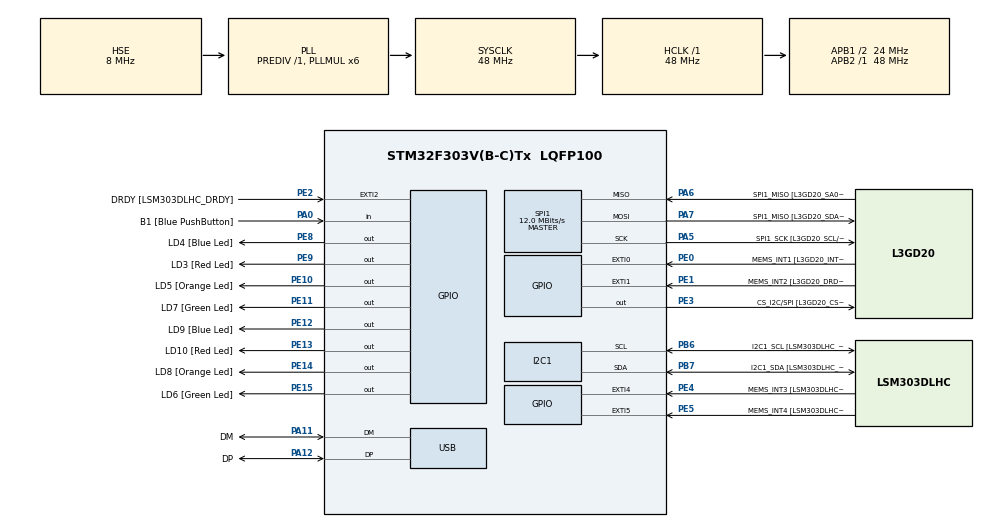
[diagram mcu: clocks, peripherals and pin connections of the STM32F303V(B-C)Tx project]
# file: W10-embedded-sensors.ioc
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I2C1.Timing=0x2000090E
I2C1.Timing-I2C=0x2000090E
Mcu.Family=STM32F3
Mcu.Name=STM32F303V(B-C)Tx
Mcu.Package=LQFP100
NVIC.PriorityGroup=NVIC_PRIORITYGROUP_0
PA0.GPIO_Label=B1 [Blue PushButton]
PA0.Signal=GPIO_Input
PA11.GPIO_Label=DM
PA11.Mode=Device
PA11.Signal=USB_DM
PA12.GPIO_Label=DP
PA12.Mode=Device
PA12.Signal=USB_DP
PA13.GPIO_Label=SWDIO
PA13.Mode=Serial_Wire
PA13.Signal=SYS_JTMS-SWDIO
PA14.GPIO_Label=SWCLK
PA14.Mode=Serial_Wire
PA14.Signal=SYS_JTCK-SWCLK
PA5.GPIO_Label=SPI1_SCK [L3GD20_SCL/SPC]
PA5.Mode=Full_Duplex_Master
PA5.Signal=SPI1_SCK
PA6.GPIO_Label=SPI1_MISO [L3GD20_SA0/SDO]
PA6.Mode=Full_Duplex_Master
PA6.Signal=SPI1_MISO
PA7.GPIO_Label=SPI1_MISO [L3GD20_SDA/SDI/SDO]
PA7.Mode=Full_Duplex_Master
PA7.Signal=SPI1_MOSI
PB3.GPIO_Label=SWO
PB3.Signal=SYS_JTDO-TRACESWO
PB6.GPIO_Label=I2C1_SCL [LSM303DLHC_SCL]
PB6.GPIO_Pu=GPIO_PULLUP
PB6.Mode=I2C
PB6.Signal=I2C1_SCL
PB7.GPIO_Label=I2C1_SDA [LSM303DLHC_SDA]
PB7.GPIO_Pu=GPIO_PULLUP
PB7.Mode=I2C
PB7.Signal=I2C1_SDA
PC14-OSC32_IN.GPIO_Label=OSC32_IN
PC14-OSC32_IN.Signal=RCC_OSC32_IN
PC15-OSC32_OUT.GPIO_Label=OSC32_OUT
PC15-OSC32_OUT.Signal=RCC_OSC32_OUT
PE0.GPIO_Label=MEMS_INT1 [L3GD20_INT1]
PE0.GPIO_ModeDefaultEXTI=GPIO_MODE_EVT_RISING
PE0.Signal=GPXTI0
PE1.GPIO_Label=MEMS_INT2 [L3GD20_DRDY/INT2]
PE1.GPIO_ModeDefaultEXTI=GPIO_MODE_EVT_RISING
PE1.Signal=GPXTI1
PE10.GPIO_Label=LD5 [Orange Led]
PE10.Signal=GPIO_Output
PE11.GPIO_Label=LD7 [Green Led]
PE11.Signal=GPIO_Output
PE12.GPIO_Label=LD9 [Blue Led]
PE12.Signal=GPIO_Output
PE13.GPIO_Label=LD10 [Red Led]
PE13.Signal=GPIO_Output
PE14.GPIO_Label=LD8 [Orange Led]
PE14.Signal=GPIO_Output
PE15.GPIO_Label=LD6 [Green Led]
PE15.Signal=GPIO_Output
PE2.GPIO_Label=DRDY [LSM303DLHC_DRDY]
PE2.GPIO_ModeDefaultEXTI=GPIO_MODE_EVT_RISING
PE2.Signal=GPXTI2
PE3.GPIO_Label=CS_I2C/SPI [L3GD20_CS_I2C/SPI]
PE3.Signal=GPIO_Output
PE4.GPIO_Label=MEMS_INT3 [LSM303DLHC_INT1]
PE4.GPIO_ModeDefaultEXTI=GPIO_MODE_EVT_RISING
PE4.Signal=GPXTI4
PE5.GPIO_Label=MEMS_INT4 [LSM303DLHC_INT2]
PE5.GPIO_ModeDefaultEXTI=GPIO_MODE_EVT_RISING
PE5.Signal=GPXTI5
PE8.GPIO_Label=LD4 [Blue Led]
PE8.Signal=GPIO_Output
PE9.GPIO_Label=LD3 [Red Led]
PE9.Signal=GPIO_Output
PF0-OSC_IN.GPIO_Label=OSC_IN
PF0-OSC_IN.Mode=HSE-External-Clock-Source
PF0-OSC_IN.Signal=RCC_OSC_IN
PF1-OSC_OUT.GPIO_Label=OSC_OUT
PF1-OSC_OUT.Signal=RCC_OSC_OUT
ProjectManager.HeapSize=0x200
ProjectManager.StackSize=0x400
ProjectManager.TargetToolchain=STM32CubeIDE
RCC.AHBFreq_Value=48000000
RCC.APB1CLKDivider=RCC_HCLK_DIV2
RCC.APB1Freq_Value=24000000
RCC.APB1TimFreq_Value=48000000
RCC.APB2Freq_Value=48000000
RCC.APB2TimFreq_Value=48000000
RCC.CortexFreq_Value=48000000
RCC.HCLKFreq_Value=48000000
RCC.HSE_VALUE=8000000
RCC.HSI_VALUE=8000000
RCC.LSE_VALUE=32768
RCC.PLLMUL=RCC_PLL_MUL6
RCC.SYSCLKFreq_VALUE=48000000
RCC.SYSCLKSourceVirtual=RCC_SYSCLKSOURCE_PLLCLK
RCC.USBFreq_Value=48000000
SPI1.BaudRatePrescaler=SPI_BAUDRATEPRESCALER_4
SPI1.BaudRatePrescaler-Full_Duplex_Master=SPI_BAUDRATEPRESCALER_2
SPI1.CalculateBaudRate=12.0 MBits/s
SPI1.CalculateBaudRate-Full_Duplex_Master=24.0 MBits/s
SPI1.Direction=SPI_DIRECTION_2LINES
SPI1.Mode=SPI_MODE_MASTER
SPI1.Mode-Full_Duplex_Master=SPI_MODE_MASTER
SPI1.VirtualType=VM_MASTER
board=STM32F3DISCOVERY

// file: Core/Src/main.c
/* USER CODE BEGIN Header */
/**
  ******************************************************************************
  * @file           : main.c
  * @brief          : Main program body
  ******************************************************************************
  * @attention
  *
  * Copyright (c) 2023 STMicroelectronics.
  * All rights reserved.
  *
  * This software is licensed under terms that can be found in the LICENSE file
  * in the root directory of this software component.
  * If no LICENSE file comes with this software, it is provided AS-IS.
  *
  ******************************************************************************
  */
/* USER CODE END Header */
#include "main.h"

/* USER CODE BEGIN Includes */
#include "BSP/stm32f3_discovery.h"
#include "BSP/stm32f3_discovery_gyroscope.h"
#include "BSP/stm32f3_discovery_accelerometer.h"

#include "serial.h"
/* USER CODE END Includes */

I2C_HandleTypeDef hi2c1;

SPI_HandleTypeDef hspi1;

PCD_HandleTypeDef hpcd_USB_FS;

void SystemClock_Config(void);
static void MX_GPIO_Init(void);
static void MX_I2C1_Init(void);
static void MX_SPI1_Init(void);
static void MX_USB_PCD_Init(void);

int main(void)
{

  /* MCU Configuration--------------------------------------------------------*/

  /* Reset of all peripherals, Initializes the Flash interface and the Systick. */
  HAL_Init();

  /* Configure the system clock */
  SystemClock_Config();

  /* Initialize all configured peripherals */
  MX_GPIO_Init();
  MX_I2C1_Init();
  MX_SPI1_Init();
  MX_USB_PCD_Init();
  /* USER CODE BEGIN 2 */
  BSP_GYRO_Init();
  BSP_ACCELERO_Init();

  SerialInitialise(BAUD_115200, &USART1_PORT, 0x00);
  uint8_t string_to_send[64] = "This is a string !\r\n";

  float gyro_values[3];
  int16_t acc_values[3];
  float float_acc_values[3];
  /* USER CODE END 2 */

  /* Infinite loop */
  /* USER CODE BEGIN WHILE */
  while (1)
  {
	  BSP_GYRO_GetXYZ(&gyro_values[0]);
	  BSP_ACCELERO_GetXYZ(&acc_values[0]);

	  float_acc_values[0] = (float)acc_values[0] / 1500.;
	  float_acc_values[1] = (float)acc_values[1] / 1500.;
	  float_acc_values[2] = (float)acc_values[2] / 1500.;

	  sprintf(string_to_send, "%0.3f,%0.3f,%0.3f,%0.3f,%0.3f,%0.3f\r\n", gyro_values[0]/20000, gyro_values[1]/20000, gyro_values[2]/20000,
			  float_acc_values[0], float_acc_values[1], float_acc_values[2]);
	  SerialOutputString(string_to_send, &USART1_PORT);

	  HAL_Delay(10);

    /* USER CODE END WHILE */

  }
}

void SystemClock_Config(void)
{
  RCC_OscInitTypeDef RCC_OscInitStruct = {0};
  RCC_ClkInitTypeDef RCC_ClkInitStruct = {0};
  RCC_PeriphCLKInitTypeDef PeriphClkInit = {0};

  /** Initializes the RCC Oscillators according to the specified parameters
  * in the RCC_OscInitTypeDef structure.
  */
  RCC_OscInitStruct.OscillatorType = RCC_OSCILLATORTYPE_HSI|RCC_OSCILLATORTYPE_HSE;
  RCC_OscInitStruct.HSEState = RCC_HSE_BYPASS;
  RCC_OscInitStruct.HSEPredivValue = RCC_HSE_PREDIV_DIV1;
  RCC_OscInitStruct.HSIState = RCC_HSI_ON;
  RCC_OscInitStruct.HSICalibrationValue = RCC_HSICALIBRATION_DEFAULT;
  RCC_OscInitStruct.PLL.PLLState = RCC_PLL_ON;
  RCC_OscInitStruct.PLL.PLLSource = RCC_PLLSOURCE_HSE;
  RCC_OscInitStruct.PLL.PLLMUL = RCC_PLL_MUL6;
  if (HAL_RCC_OscConfig(&RCC_OscInitStruct) != HAL_OK)
  {
    Error_Handler();
  }

  /** Initializes the CPU, AHB and APB buses clocks
  */
  RCC_ClkInitStruct.ClockType = RCC_CLOCKTYPE_HCLK|RCC_CLOCKTYPE_SYSCLK
                              |RCC_CLOCKTYPE_PCLK1|RCC_CLOCKTYPE_PCLK2;
  RCC_ClkInitStruct.SYSCLKSource = RCC_SYSCLKSOURCE_PLLCLK;
  RCC_ClkInitStruct.AHBCLKDivider = RCC_SYSCLK_DIV1;
  RCC_ClkInitStruct.APB1CLKDivider = RCC_HCLK_DIV2;
  RCC_ClkInitStruct.APB2CLKDivider = RCC_HCLK_DIV1;

  if (HAL_RCC_ClockConfig(&RCC_ClkInitStruct, FLASH_LATENCY_1) != HAL_OK)
  {
    Error_Handler();
  }
  PeriphClkInit.PeriphClockSelection = RCC_PERIPHCLK_USB|RCC_PERIPHCLK_I2C1;
  PeriphClkInit.I2c1ClockSelection = RCC_I2C1CLKSOURCE_HSI;
  PeriphClkInit.USBClockSelection = RCC_USBCLKSOURCE_PLL;
  if (HAL_RCCEx_PeriphCLKConfig(&PeriphClkInit) != HAL_OK)
  {
    Error_Handler();
  }
}

static void MX_I2C1_Init(void)
{

  hi2c1.Instance = I2C1;
  hi2c1.Init.Timing = 0x2000090E;
  hi2c1.Init.OwnAddress1 = 0;
  hi2c1.Init.AddressingMode = I2C_ADDRESSINGMODE_7BIT;
  hi2c1.Init.DualAddressMode = I2C_DUALADDRESS_DISABLE;
  hi2c1.Init.OwnAddress2 = 0;
  hi2c1.Init.OwnAddress2Masks = I2C_OA2_NOMASK;
  hi2c1.Init.GeneralCallMode = I2C_GENERALCALL_DISABLE;
  hi2c1.Init.NoStretchMode = I2C_NOSTRETCH_DISABLE;
  if (HAL_I2C_Init(&hi2c1) != HAL_OK)
  {
    Error_Handler();
  }

  /** Configure Analogue filter
  */
  if (HAL_I2CEx_ConfigAnalogFilter(&hi2c1, I2C_ANALOGFILTER_ENABLE) != HAL_OK)
  {
    Error_Handler();
  }

  /** Configure Digital filter
  */
  if (HAL_I2CEx_ConfigDigitalFilter(&hi2c1, 0) != HAL_OK)
  {
    Error_Handler();
  }

}

static void MX_SPI1_Init(void)
{

  /* SPI1 parameter configuration*/
  hspi1.Instance = SPI1;
  hspi1.Init.Mode = SPI_MODE_MASTER;
  hspi1.Init.Direction = SPI_DIRECTION_2LINES;
  hspi1.Init.DataSize = SPI_DATASIZE_4BIT;
  hspi1.Init.CLKPolarity = SPI_POLARITY_LOW;
  hspi1.Init.CLKPhase = SPI_PHASE_1EDGE;
  hspi1.Init.NSS = SPI_NSS_SOFT;
  hspi1.Init.BaudRatePrescaler = SPI_BAUDRATEPRESCALER_4;
  hspi1.Init.FirstBit = SPI_FIRSTBIT_MSB;
  hspi1.Init.TIMode = SPI_TIMODE_DISABLE;
  hspi1.Init.CRCCalculation = SPI_CRCCALCULATION_DISABLE;
  hspi1.Init.CRCPolynomial = 7;
  hspi1.Init.CRCLength = SPI_CRC_LENGTH_DATASIZE;
  hspi1.Init.NSSPMode = SPI_NSS_PULSE_ENABLE;
  if (HAL_SPI_Init(&hspi1) != HAL_OK)
  {
    Error_Handler();
  }

}

static void MX_USB_PCD_Init(void)
{

  hpcd_USB_FS.Instance = USB;
  hpcd_USB_FS.Init.dev_endpoints = 8;
  hpcd_USB_FS.Init.speed = PCD_SPEED_FULL;
  hpcd_USB_FS.Init.phy_itface = PCD_PHY_EMBEDDED;
  hpcd_USB_FS.Init.low_power_enable = DISABLE;
  hpcd_USB_FS.Init.battery_charging_enable = DISABLE;
  if (HAL_PCD_Init(&hpcd_USB_FS) != HAL_OK)
  {
    Error_Handler();
  }

}

static void MX_GPIO_Init(void)
{
  GPIO_InitTypeDef GPIO_InitStruct = {0};

  /* GPIO Ports Clock Enable */
  __HAL_RCC_GPIOE_CLK_ENABLE();
  __HAL_RCC_GPIOC_CLK_ENABLE();
  __HAL_RCC_GPIOF_CLK_ENABLE();
  __HAL_RCC_GPIOA_CLK_ENABLE();
  __HAL_RCC_GPIOB_CLK_ENABLE();

  /*Configure GPIO pin Output Level */
  HAL_GPIO_WritePin(GPIOE, CS_I2C_SPI_Pin|LD4_Pin|LD3_Pin|LD5_Pin
                          |LD7_Pin|LD9_Pin|LD10_Pin|LD8_Pin
                          |LD6_Pin, GPIO_PIN_RESET);

  /*Configure GPIO pins : DRDY_Pin MEMS_INT3_Pin MEMS_INT4_Pin MEMS_INT1_Pin
                           MEMS_INT2_Pin */
  GPIO_InitStruct.Pin = DRDY_Pin|MEMS_INT3_Pin|MEMS_INT4_Pin|MEMS_INT1_Pin
                          |MEMS_INT2_Pin;
  GPIO_InitStruct.Mode = GPIO_MODE_EVT_RISING;
  GPIO_InitStruct.Pull = GPIO_NOPULL;
  HAL_GPIO_Init(GPIOE, &GPIO_InitStruct);

  /*Configure GPIO pins : CS_I2C_SPI_Pin LD4_Pin LD3_Pin LD5_Pin
                           LD7_Pin LD9_Pin LD10_Pin LD8_Pin
                           LD6_Pin */
  GPIO_InitStruct.Pin = CS_I2C_SPI_Pin|LD4_Pin|LD3_Pin|LD5_Pin
                          |LD7_Pin|LD9_Pin|LD10_Pin|LD8_Pin
                          |LD6_Pin;
  GPIO_InitStruct.Mode = GPIO_MODE_OUTPUT_PP;
  GPIO_InitStruct.Pull = GPIO_NOPULL;
  GPIO_InitStruct.Speed = GPIO_SPEED_FREQ_LOW;
  HAL_GPIO_Init(GPIOE, &GPIO_InitStruct);

  /*Configure GPIO pin : B1_Pin */
  GPIO_InitStruct.Pin = B1_Pin;
  GPIO_InitStruct.Mode = GPIO_MODE_INPUT;
  GPIO_InitStruct.Pull = GPIO_NOPULL;
  HAL_GPIO_Init(B1_GPIO_Port, &GPIO_InitStruct);

}

void Error_Handler(void)
{
  __disable_irq();
  while (1)
  {
  }
}
